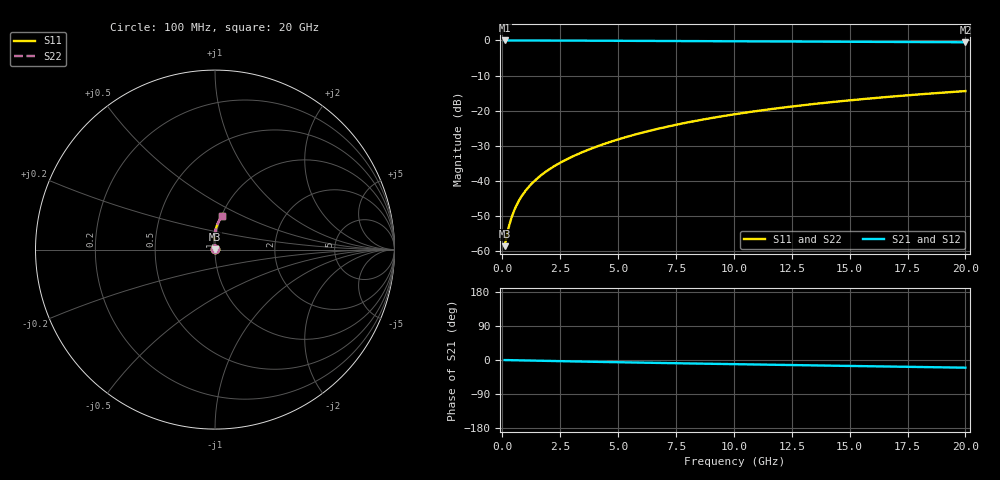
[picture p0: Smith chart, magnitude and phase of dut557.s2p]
! Touchstone file exported from HFSS 2024.1.0
!  File:  C:/UserFiles/LocalFiles/RDL_TSV_Batchsim/temp_RDL_top_557_1779681157.aedt
!  Generated:  11:54:47 AM May 25, 2026
!  Design:  RDL_top
!  Project:  temp_RDL_top_557_1779681157
!  Setup:  Setup1
!  Solution:  Sweep
! Variables:
!  dtsv = 10.80580581um
!  hbump = 3um
!  htsv = 76.56um
!  ldown = 100um
!  lrdl = 275.31um
!  p = 40
!  p1 = 55.86um
!  rhole = 1um
!  t = 450um
!  tdown = 3.915915916um
!  trdl = 4.99um
!  wdown = 15.38538539um
!  wrdl = 29.1um
# GHz S MA R 50.000000
! Terminal data exported
! Port[1] = Box2_T1
! Port[2] = Box2_T2
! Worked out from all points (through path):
!   200 points, 100 MHz to 20 GHz, reference 50 ohm
!   highest |S21| = -0.01 dB at 100 MHz (marker M1); lowest = -0.5 dB at 20 GHz (marker M2)
!   group delay of S21, straight-line fit = 2.76 ps
!   lowest |S11| = -58.6 dB at 100 MHz (marker M3), VSWR 1.00, Z = 50.1 + j0.0794 ohm
!   |S11| at or under -10 dB: start of sweep to end of sweep
!   |S22| runs from -58.6 to -14.4 dB; largest |S21 - S12| = 2.2e-15
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0.1  0.001168 42.7  0.9991 -0.1  0.9991 -0.1  0.001168 42.7
! Gamma 0 0 0 0
! Port Impedance 50 0 50 0
0.2  0.001694 60.2  0.999 -0.3  0.999 -0.3  0.001694 60.2
0.3  0.002325 69.0  0.9989 -0.4  0.9989 -0.4  0.002325 69.0
0.4  0.002994 74.0  0.9989 -0.5  0.9989 -0.5  0.002993 74.0
0.5  0.003678 77.2  0.9988 -0.6  0.9988 -0.6  0.003678 77.2
0.6  0.004371 79.5  0.9987 -0.8  0.9987 -0.8  0.004371 79.5
0.8  0.005769 82.4  0.9985 -1.0  0.9985 -1.0  0.005769 82.4
1.1  0.007882 85.1  0.9982 -1.4  0.9982 -1.4  0.007881 85.1
1.5  0.01072 87.3  0.9976 -1.9  0.9976 -1.9  0.01072 87.3
1.8  0.01288 88.6  0.997 -2.2  0.997 -2.2  0.01288 88.6
2.1  0.01507 89.6  0.9964 -2.6  0.9964 -2.6  0.01507 89.6
2.7  0.01957 91.2  0.995 -3.3  0.995 -3.3  0.01957 91.2
3.5  0.02589 92.8  0.9927 -4.2  0.9927 -4.2  0.02589 92.8
4.2  0.03175 93.6  0.9904 -5.0  0.9904 -5.0  0.03175 93.6
5  0.0388 94.1  0.9877 -5.9  0.9877 -5.9  0.03881 94.1
6.8  0.05582 93.9  0.9814 -7.8  0.9814 -7.8  0.05583 93.9
8.4  0.07186 92.6  0.9759 -9.4  0.9759 -9.4  0.07186 92.7
10.1  0.08937 90.8  0.9703 -11.1  0.9703 -11.1  0.08938 90.8
11.7  0.106 88.9  0.9654 -12.6  0.9654 -12.6  0.106 88.9
13.4  0.1236 86.7  0.9604 -14.2  0.9604 -14.2  0.1236 86.8
16.7  0.1573 82.6  0.9511 -17.3  0.9511 -17.3  0.1573 82.6
20  0.1898 78.6  0.9418 -20.3  0.9418 -20.3  0.1898 78.6
